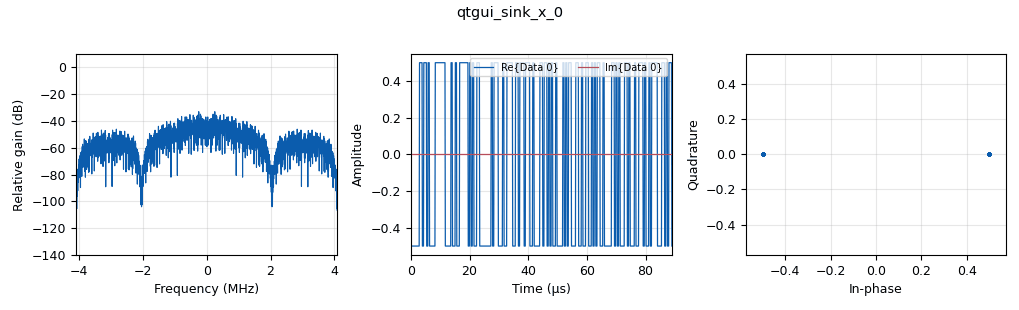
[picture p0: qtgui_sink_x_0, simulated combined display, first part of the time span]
options:
  parameters:
    author: syml
    generate_options: qt_gui
    id: bpsk_tx_demo
    output_language: python
    title: BPSK_TX
  states: {}

blocks:
- name: bpsk
  id: variable_constellation
  parameters:
    precision: '8'
    type: bpsk
  states: {}
- name: samp_rate
  id: variable
  parameters:
    value: 4.092e6 * 2
  states: {}
- name: blocks_multiply_const_vxx_0
  id: blocks_multiply_const_vxx
  parameters:
    const: '0.5'
    type: complex
  states: {}
- name: blocks_repack_bits_bb_0
  id: blocks_repack_bits_bb
  parameters:
    endianness: gr.GR_LSB_FIRST
    k: '4'
    l: '1'
  states: {}
- name: blocks_repack_bits_bb_0_0
  id: blocks_repack_bits_bb
  parameters:
    endianness: gr.GR_LSB_FIRST
    k: '3'
    l: '1'
  states: {}
- name: blocks_repeat_0
  id: blocks_repeat
  parameters:
    interp: int(samp_rate) // 20
    type: byte
  states: {}
- name: blocks_repeat_0_0
  id: blocks_repeat
  parameters:
    interp: int(samp_rate) // 1000
    type: byte
  states: {}
- name: blocks_repeat_0_0_0
  id: blocks_repeat
  parameters:
    interp: int(samp_rate) // 2046000
    type: byte
  states: {}
- name: blocks_vector_source_x_0
  id: blocks_vector_source_x
  parameters:
    repeat: 'True'
    type: byte
    vector: (0,0,0,0,0,1,0,0,1,1,0,1,0,1,0,0,1,1,1,0)
  states: {}
- name: blocks_vector_source_x_1
  id: blocks_vector_source_x
  parameters:
    comment: sat 12
    repeat: 'True'
    type: byte
    vector: vecsrc.hex2vec("e24046d288d22ff9eff7fa4000154400196d5f9c6afb5faa0c590050400fb2a839a66b0c80e24086da8c927fecc1571300cf23a8884be27c0b987e111109c81550f75881e81869a12b0e240c6e6ddc63eba4ed914eabe21ffaa8a4c5501401d2dba486774f52d17cada063e1e4c0e24106ca88837ebecdcd8e5ff55ffdf8fd619e2810091aaecac8440521a183284e2d41a0a86e24146f688837ebecdcd8e5ff55ffdf8fd619e2810091aaecac8440521a183284e2d41a0a86")
  states: {}
- name: blocks_vector_source_x_2
  id: blocks_vector_source_x
  parameters:
    repeat: 'True'
    type: byte
    vector: vecsrc.oct2vec("5110350312654634560711755747041376776345553333363071442134403564512557105307452030165055324062355117367062274370673233236415302114713363163246624014702255306055641305066224704645172277657445015000540175710527666066101217247035657623042535367504475101067265241702441450735227111043533011430133625376010740364645046740506275022227426701647712440216135451573431037625205411255331047644407457513636331034543257253456643652142641225015503434451532604703542446254375720611005252530665535662471052571027126724662662744637742310363247742737252365600474513501760707216314076073457716356014243377663227022423245616665130517206603751441626756634242100066207714447354100534474537406621142341132")
  states: {}
- name: blocks_xor_xx_1
  id: blocks_xor_xx
  parameters:
    num_inputs: '3'
    type: byte
  states: {}
- name: digital_constellation_encoder_bc_0
  id: digital_constellation_encoder_bc
  parameters:
    constellation: bpsk
  states: {}
- name: qtgui_sink_x_0
  id: qtgui_sink_x
  parameters:
    bw: samp_rate
    fc: '0'
    fftsize: '4096'
    type: complex
  states: {}
- name: qtgui_time_sink_x_0
  id: qtgui_time_sink_x
  parameters:
    ctrlpanel: 'True'
    nconnections: '2'
    size: '1024'
    srate: samp_rate
    type: complex
  states: {}
- name: uhd_usrp_sink_0
  id: uhd_usrp_sink
  parameters:
    ant0: '"TX/RX"'
    bw0: 4.092e6
    center_freq0: 1561.098e6
    gain0: '0.5'
    gain_type0: normalized
    samp_rate: samp_rate
    sync: sync
    type: fc32
  states: {}
- name: uhd_usrp_source_0
  id: uhd_usrp_source
  parameters:
    ant0: '"RX2"'
    center_freq0: 1561.098e6
    gain0: '12'
    rx_agc0: Disabled
    samp_rate: samp_rate
    sync: sync
    type: fc32
  states: {}
- name: vecsrc
  id: epy_module
  parameters:
    source_code: |
      # this module will be imported in the into your flowgraph
      import numpy as np


      def hex2vec(data: str):
          v = []
          for i in data:
              v.append(int(i, 16))
          return v

      def oct2vec(data: str):
          v = []
          for i in data:
              v.append(int(i, 8))
          return v
  states: {}

connections:
- [blocks_multiply_const_vxx_0, '0', qtgui_sink_x_0, '0']
- [blocks_multiply_const_vxx_0, '0', qtgui_time_sink_x_0, '1']
- [blocks_multiply_const_vxx_0, '0', uhd_usrp_sink_0, '0']
- [blocks_repack_bits_bb_0, '0', blocks_repeat_0, '0']
- [blocks_repack_bits_bb_0_0, '0', blocks_repeat_0_0_0, '0']
- [blocks_repeat_0, '0', blocks_xor_xx_1, '0']
- [blocks_repeat_0_0, '0', blocks_xor_xx_1, '1']
- [blocks_repeat_0_0_0, '0', blocks_xor_xx_1, '2']
- [blocks_vector_source_x_0, '0', blocks_repeat_0_0, '0']
- [blocks_vector_source_x_1, '0', blocks_repack_bits_bb_0, '0']
- [blocks_vector_source_x_2, '0', blocks_repack_bits_bb_0_0, '0']
- [blocks_xor_xx_1, '0', digital_constellation_encoder_bc_0, '0']
- [digital_constellation_encoder_bc_0, '0', blocks_multiply_const_vxx_0, '0']
- [uhd_usrp_source_0, '0', qtgui_time_sink_x_0, '0']

metadata:
  file_format: 1
  grc_version: 3.10.5.0
